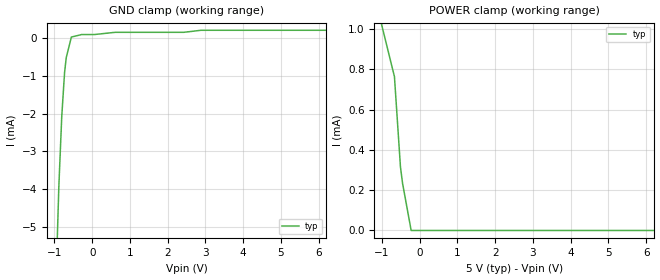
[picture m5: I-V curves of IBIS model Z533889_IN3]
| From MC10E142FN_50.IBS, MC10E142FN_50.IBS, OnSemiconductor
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| (C) COPYRIGHT 1993-2000
| MENTOR GRAPHICS CORPORATION
| ICX STANDARD LIBRARY, ICX PROJECT MODELING,
| ICX CUSTOM MODELING, ICX VENDOR MODEL
| ALL RIGHTS RESERVED.
| THE FOLLOWING ARE TRADEMARKS OR SERVICE MARKS OF
| MENTOR GRAPHICS CORPORATION:ICX (R), ICX STANDARD
| LIBRARY(R), ICX PROJECT MODELING(R), ICX CUSTOM
| MODELING(R), qualityIBIS(TM), MODELVIEWER(TM),
| AND MODELEDITOR(TM)
| ALL COPIES OF SOFTWARE, INCLUDING BUT NOT LIMITED TO
| ANY MODIFICATIONS, ENHANCEMENTS OR DERIVATIVE WORKS,
| MUST CONTAIN ALL MENTOR GRAPHICS CORPORATION'S
| NOTICES AND LEGENDS, INCLUDING THOSE EMBEDDED IN
| SOFTWARE AND THOSE AFFIXED TO SOFTWARE MEDIUM
| AND CONTAINER, AS RECEIVED FROM MENTOR GRAPHICS
| CORPORATION.
| Model Application Version 1.89 2/18/99.
[Model] Z533889_IN3
Model_type Input_ECL
Vinl = 3.520V
Vinh = 3.830V
C_comp 2.000pF NA NA
| variable typ   min   max
[Voltage Range] 5.000V NA NA
[GND Clamp Reference] 0.000V NA NA
[POWER Clamp Reference] 5.000V NA NA
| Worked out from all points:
|   GND clamp passes 1 mA (typ) near -0.74 V on its own axis
[GND Clamp]
-5V       -338.1mA   NA         NA
-1.001V   -7.856mA   NA         NA
-883.6mV  -3.927mA   NA         NA
-806mV    -2.061mA   NA         NA
-731.5mV  -902.3uA   NA         NA
-686.6mV  -506.7uA   NA         NA
-551.6mV  34.29uA    NA         NA
-275.8mV  101uA      NA         NA
608.3mV   159.8uA    NA         NA
2.426V    159.8uA    NA         NA
2.881V    213.8uA    NA         NA
10V       213.8uA    NA         NA
[POWER Clamp]
-5V       3.593mA    NA         NA
-1.186V   1.495mA    NA         NA
-1.011V   1.024mA    NA         NA
-669mV    763.6uA    NA         NA
-509mV    313.5uA    NA         NA
-452mV    231.9uA    NA         NA
-226mV    0A         NA         NA
10V       0A         NA         NA
